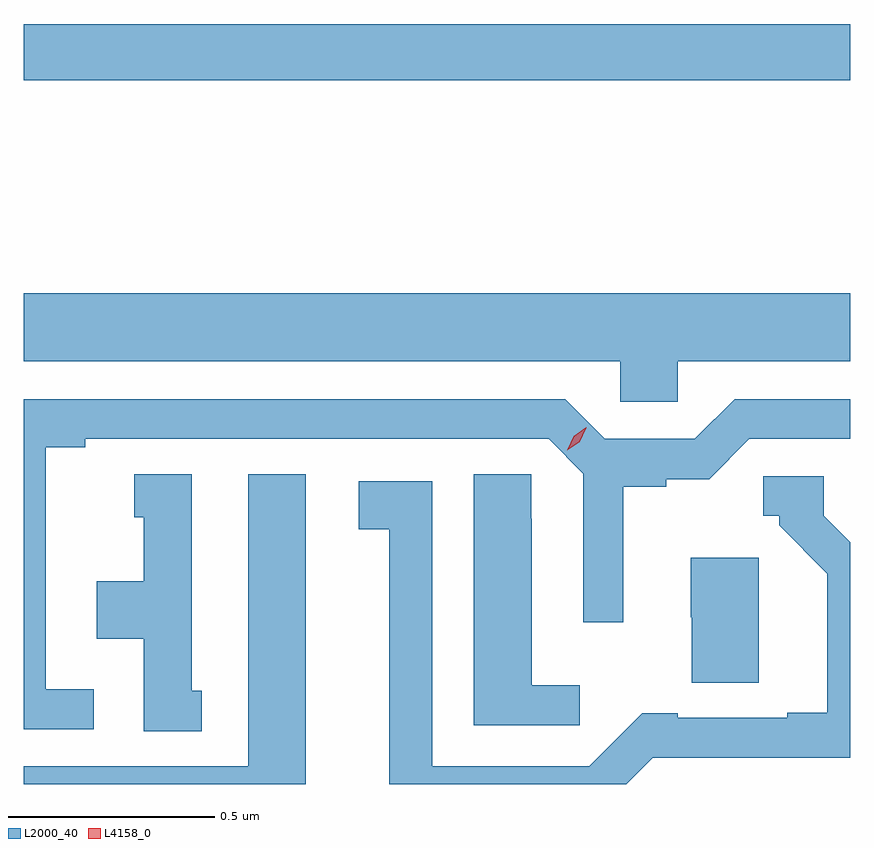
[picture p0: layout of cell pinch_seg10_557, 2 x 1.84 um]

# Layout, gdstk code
import gdstk
lib = gdstk.Library(unit=1e-6, precision=1e-09)
def R(c, l, rs):  # rectangles x0, y0, x1, y1
    for r in rs: c.add(gdstk.rectangle(r[:2], r[2:], *l))
def P(c, l, *ps):  # polygons
    for p in ps: c.add(gdstk.Polygon(p, *l))
L2000_40 = (2000, 40)
L4158_0 = (4158, 0)

pinch_seg10_557 = lib.new_cell('pinch_seg10_557')
R(pinch_seg10_557, L2000_40, [(145.745,1270.36,147.745,1270.496)])
P(pinch_seg10_557, L2000_40, [(147.327,1269.68),(147.745,1269.68),(147.745,1269.844),(145.745,1269.844),(145.745,1269.68),(147.189,1269.68),(147.189,1269.582),(147.327,1269.582)],
  [(145.915,1268.886),(145.798,1268.886),(145.798,1269.472),(145.894,1269.472),(145.894,1269.492),(147.015,1269.492),(147.099,1269.408),(147.099,1269.048),(147.196,1269.048),(147.196,1269.376),(147.3,1269.376),(147.3,1269.395),(147.404,1269.395),(147.501,1269.492),(147.745,1269.492),(147.745,1269.588),(147.465,1269.588),(147.369,1269.492),(147.151,1269.492),(147.055,1269.588),(145.745,1269.588),(145.745,1268.79),(145.915,1268.79)],
  [(147.091,1268.896),(146.974,1268.896),(146.974,1269.299),(146.973,1269.299),(146.973,1269.407),(146.834,1269.407),(146.834,1268.799),(147.091,1268.799)],
  [(146.428,1269.406),(146.288,1269.406),(146.288,1268.7),(145.745,1268.7),(145.745,1268.657),(146.428,1268.657)],
  [(146.176,1268.883),(146.152,1268.883),(146.152,1269.406),(146.012,1269.406),(146.012,1269.303),(146.036,1269.303),(146.036,1269.148),(145.922,1269.148),(145.922,1269.008),(146.036,1269.008),(146.036,1268.785),(146.176,1268.785)],
  [(147.267,1268.721),(147.523,1268.721),(147.523,1268.72),(147.745,1268.72),(147.745,1269.242),(147.681,1269.306),(147.681,1269.402),(147.534,1269.402),(147.534,1269.306),(147.573,1269.306),(147.573,1269.283),(147.689,1269.166),(147.689,1268.83),(147.593,1268.83),(147.593,1268.817),(147.328,1268.817),(147.328,1268.828),(147.242,1268.828),(147.114,1268.7),(146.734,1268.7),(146.734,1269.39),(146.556,1269.39),(146.556,1269.274),(146.63,1269.274),(146.63,1268.657),(147.203,1268.657)],
  [(147.523,1269.205),(147.359,1269.205),(147.359,1269.06),(147.361,1269.06),(147.361,1268.902),(147.523,1268.902)])
P(pinch_seg10_557, L4158_0, [(147.06,1269.464),(147.06,1269.465),(147.076,1269.498),(147.106,1269.52),(147.106,1269.52),(147.106,1269.519),(147.091,1269.485),(147.06,1269.464)])

lib.write_gds('pinch_seg10_557.gds')
